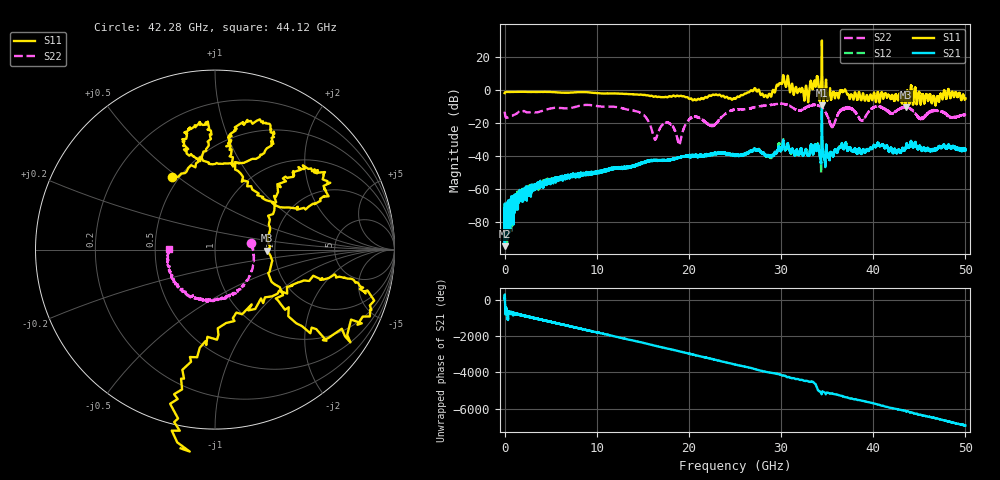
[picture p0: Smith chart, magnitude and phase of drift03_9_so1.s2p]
!Created with skrf (http://scikit-rf.org).
# Hz S RI R 50.0
!freq ReS11 ImS11 ReS21 ImS21 ReS12 ImS12 ReS22 ImS22
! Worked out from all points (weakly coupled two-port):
!   10000 points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, 5.3 MHz to 50 GHz, reference 50 ohm
!   highest |S21| = -9.45 dB at 34.43 GHz (marker M1); lowest = -94.6 dB at 25.3 MHz (marker M2)
!   lowest |S11| = -10.7 dB at 43.53 GHz (marker M3), VSWR 1.82, Z = 91.1 - j1.26 ohm
!   |S11| at or under -10 dB: 43.5082 GHz to 43.53693 GHz (28.73 MHz wide, 0.066 % of centre)
!   |S22| runs from -33.4 to -8.5 dB; largest |S21 - S12| = 0.12
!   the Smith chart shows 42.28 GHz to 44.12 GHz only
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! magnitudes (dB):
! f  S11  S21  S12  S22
! 5.3 MHz  -2.1  -83.6  -76.6  -13.3
! 25.3 MHz  -1.9  -94.6  -80.0  -13.9
! 2.095 GHz  -1.3  -61.8  -63.1  -12.9
! 8.34 GHz  -1.5  -51.2  -50.4  -9.5
! 14.51 GHz  -3.1  -45.1  -45.6  -13.5
! 16.67 GHz  -4.4  -42.8  -42.8  -25.7
! 17.8 GHz  -4.2  -42.6  -42.4  -20.1
! 18.96 GHz  -4.0  -41.1  -40.9  -33.2
! 20.27 GHz  -5.4  -40.8  -39.7  -17.1
! 22.57 GHz  -3.2  -39.1  -38.9  -22.1
! 25.01 GHz  -5.5  -39.5  -39.6  -12.1
! 28.72 GHz  -2.5  -40.7  -40.7  -9.4
! 30.14 GHz  4.4  -33.6  -34.1  -8.6
! 32.74 GHz  2.0  -36.7  -36.3  -10.7
! 33.34 GHz  2.5  -35.0  -35.2  -9.4
! 34.43 GHz  29.7  -9.5  -11.8  -10.9
! 35.55 GHz  -3.0  -38.9  -39.2  -22.5
! 36.98 GHz  0.0  -32.8  -32.9  -11.3
! 38.75 GHz  -5.8  -38.2  -38.3  -18.8
! 41.67 GHz  -3.2  -36.8  -36.7  -13.4
! 43.53 GHz  -10.7  -35.0  -34.8  -10.7
! 50 GHz  -5.3  -36.4  -36.0  -15.4
